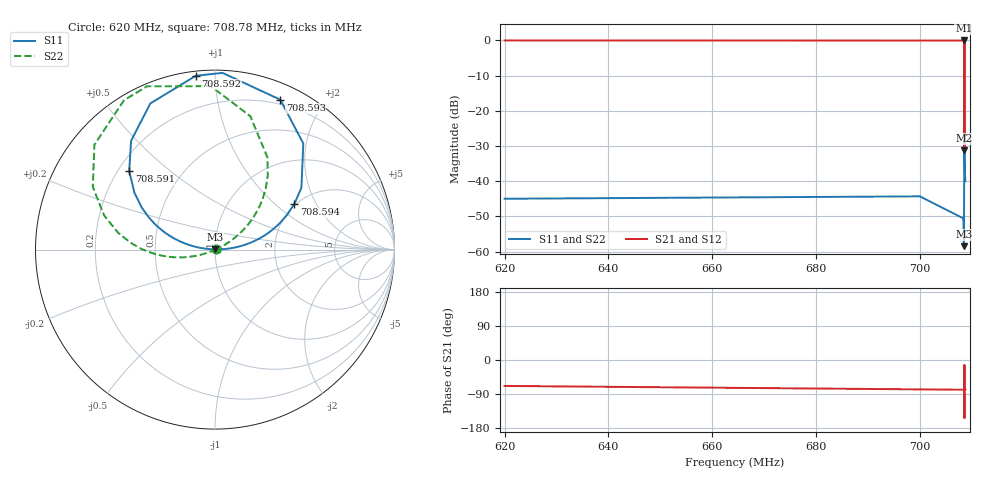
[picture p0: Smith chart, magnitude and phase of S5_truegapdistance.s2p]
! Sonnet Data File
! From: em Version : 14.54
! From Project: S5_truegapdistance
! Data is De-embedded
! Data File Written: 06/27/2014 05:42:39
!< HDATE 06/16/2014 22:22:56
!< MDATE 06/26/2014 15:44:37
# GHZ S RI R 50.00000
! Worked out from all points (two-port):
!   1424 points, 620 MHz to 708.78 MHz, reference 50 ohm
!   highest |S21| = 0.00 dB at 708.479 MHz (marker M1); lowest = -31.2 dB at 708.593 MHz (marker M2)
!   |S21| within 3 dB of the highest: start of sweep to 708.592 MHz; 708.5933 MHz to end of sweep
!   lowest |S11| = -58.5 dB at 708.476 MHz (marker M3), VSWR 1.00, Z = 50 + j0.119 ohm
!   |S11| at or under -10 dB: start of sweep to 708.59 MHz; 708.5947 MHz to end of sweep
!   |S22| runs from -58.5 to -0.1 dB; largest |S21 - S12| = 1.4e-11
!   S11 on the Smith chart (normalised r, x): 620 MHz: 1.01, +0.00; 708.591 MHz: 0.25, +0.37; 708.592 MHz: 0.02, +0.90; 708.593 MHz: 0.15, +1.52; 708.594 MHz: 1.97, +1.35; 708.78 MHz: 1.02, +0.00
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0.62  0.00528 0.00196  0.3673 -0.9301  0.3673 -0.9301  0.00519 0.00218
!< P1 F=0.62 Eeff=(7.06252451 -9.0439e-6) Z0=(50.4878634 3.17661e-5) R=0.00312066 C=0.16473536
!< P2 F=0.62 Eeff=(7.06252451 -9.0439e-6) Z0=(50.4878634 3.17661e-5) R=0.00312066 C=0.16473536
0.6996163  0.00597 0.00121  0.2208 -0.9753  0.2208 -0.9753  0.00591 0.00148
0.708382  0.00274 0.00116  0.201 -0.9796  0.201 -0.9796  0.00296 3.24e-05
0.7083836  0.00271 0.00116  0.201 -0.9796  0.201 -0.9796  0.00294 2.11e-05
0.7084756  2.08e-05 0.00119  0.1982 -0.9802  0.1982 -0.9802  0.000482 -0.00109
0.708479  -0.000167 0.00119  0.198 -0.9802  0.198 -0.9802  0.00031 -0.00117
0.7085053  -0.00204 0.00124  0.1961 -0.9806  0.1961 -0.9806  -0.0014 -0.00192
0.7085149  -0.00303 0.00126  0.1951 -0.9808  0.1951 -0.9808  -0.00232 -0.00232
0.7085309  -0.00539 0.00133  0.1927 -0.9812  0.1927 -0.9812  -0.00449 -0.00326
0.7085694  -0.0245 0.00229  0.1737 -0.9845  0.1737 -0.9845  -0.0223 -0.0105
0.7085848  -0.0863 0.0106  0.1115 -0.9898  0.1115 -0.9898  -0.0819 -0.0292
0.7085896  -0.2344 0.0661  -0.0452 -0.9677  -0.0452 -0.9677  -0.2399 -0.0417
0.7085915  -0.4779 0.4359  -0.3635 -0.6592  -0.3635 -0.6592  -0.618 0.1907
0.7085922  -0.1068 0.9685  -0.1166 -0.058  -0.1166 -0.058  -0.5072 0.832
0.7085926  0.0421 0.9846  0.0255 -0.00995  0.0255 -0.00995  -0.3788 0.9097
0.7085928  0.3639 0.8351  0.3724 -0.0862  0.3724 -0.0862  -0.0231 0.9106
0.7085938  0.4415 0.2533  0.5746 -0.6379  0.5746 -0.6379  0.2943 0.4153
0.7085947  0.3019 0.0965  0.4722 -0.8215  0.4722 -0.8215  0.2341 0.2136
0.7085959  0.2084 0.0428  0.3926 -0.8943  0.3926 -0.8943  0.1721 0.1252
0.7086034  0.0719 0.00507  0.2673 -0.9608  0.2673 -0.9608  0.0641 0.0329
0.7086286  0.026 0.00138  0.2232 -0.9744  0.2232 -0.9744  0.024 0.0101
0.7087798  0.00994 0.0011  0.2073 -0.9782  0.2073 -0.9782  0.00953 0.00304
